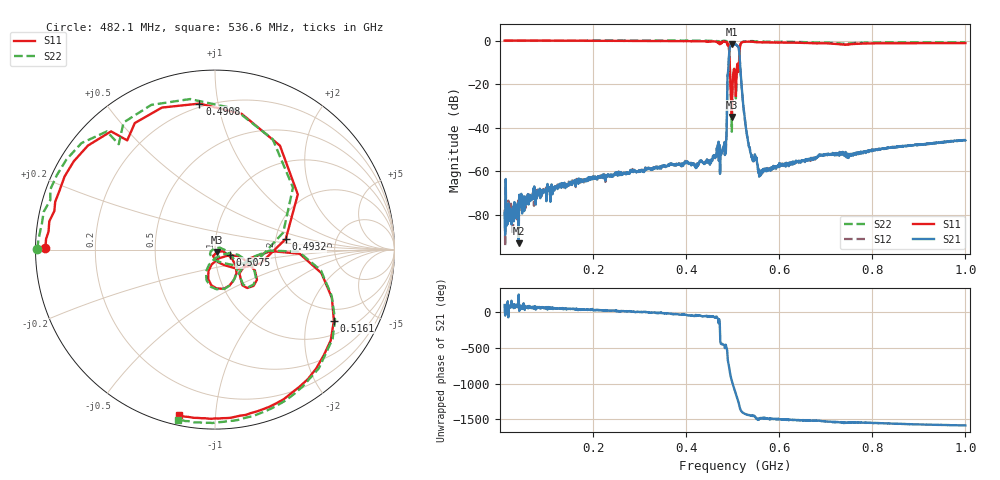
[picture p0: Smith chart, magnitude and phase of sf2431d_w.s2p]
!Agilent Technologies,E5070B,MY42401607,A.08.11
!Date: Tue Nov 01 11:06:32 2016
!Data & Calibration Information:
!Freq	S11:SOLT2(ON)	S31:SOLT2(ON)	S13:SOLT2(ON)	S33:SOLT2(ON)
# Hz S dB R 50
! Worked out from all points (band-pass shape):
!   1601 points, 10 MHz to 1 GHz, reference 50 ohm
!   highest |S21| = -1.76 dB at 498.8 MHz (marker M1); lowest = -92.8 dB at 40.32 MHz (marker M2)
!   |S21| within 3 dB of the highest: 492.9 MHz to 513.9 MHz (20.99 MHz wide, 4.17 % of centre)
!   lowest |S11| = -35.1 dB at 498.2 MHz (marker M3), VSWR 1.04, Z = 51.2 - j1.29 ohm
!   |S11| at or under -10 dB: 493.6 MHz to 513.7 MHz (20.08 MHz wide, 3.99 % of centre)
!   |S22| runs from -41.8 to 0.1 dB; largest |S21 - S12| = 0.0041
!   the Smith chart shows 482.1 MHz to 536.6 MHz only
!   S11 on the Smith chart (normalised r, x): 482.1 MHz: 0.03, +0.00; 490.8 MHz: 0.18, +0.88; 493.2 MHz: 2.27, +0.32; 507.5 MHz: 1.18, -0.07; 516.1 MHz: 1.49, -2.92; 536.6 MHz: 0.05, -0.80
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1e7  -0.01 -2.8  -78.98 102.3  -77.52 95.1  0.01 -2.8
4.031875e7  -0.02 -11.1  -92.84 -110.2  -89.52 -172.9  -0.01 -11.0
1.752062e8  -0.07 -47.6  -64.53 40.9  -64.40 39.3  -0.02 -47.4
3.404125e8  -0.22 -92.9  -57.88 -4.6  -58.11 -4.1  0.00 -92.5
4.524062e8  -0.50 -136.1  -55.39 -57.9  -55.45 -57.4  -0.10 -135.3
4.821062e8  -0.49 179.5  -47.83 -101.6  -47.77 -101.5  -0.09 179.8
4.870562e8  -0.65 148.0  -40.64 -142.6  -40.66 -142.5  -0.28 148.8
4.907688e8  -1.74 96.1  -12.56 5.6  -12.53 5.6  -1.41 99.4
4.932438e8  -7.98 8.6  -3.87 -91.6  -3.87 -91.7  -8.14 14.0
4.981938e8  -35.07 -45.7  -1.89 117.3  -1.89 117.3  -41.80 139.1
4.988125e8  -27.00 -12.1  -1.76 102.3  -1.77 102.1  -31.04 23.6
5.012875e8  -14.99 -47.7  -1.81 48.1  -1.79 48.0  -15.35 -43.2
5.05e8  -15.53 -103.2  -1.91 -23.0  -1.93 -23.0  -15.04 -105.6
5.07475e8  -21.18 -20.1  -1.87 -72.4  -1.89 -72.4  -23.61 -19.4
5.118062e8  -12.00 -52.6  -2.85 -163.7  -2.84 -163.7  -12.05 -51.1
5.161375e8  -2.25 -30.9  -11.64 82.5  -11.66 82.4  -2.22 -30.2
5.235625e8  -0.61 -77.6  -31.28 24.2  -31.23 24.2  -0.43 -77.1
5.365562e8  -0.50 -102.4  -49.00 -7.4  -48.96 -7.3  -0.24 -102.1
5.606875e8  -0.78 -121.0  -61.71 -46.5  -61.03 -45.4  -0.49 -120.8
6.702062e8  -1.22 -154.1  -54.41 -80.5  -54.79 -82.2  -0.83 -154.4
8.354125e8  -1.21 175.9  -49.12 -121.4  -48.98 -122.9  -0.83 175.8
1e9  -1.15 146.9  -45.73 -148.1  -45.59 -148.4  -0.77 146.9
